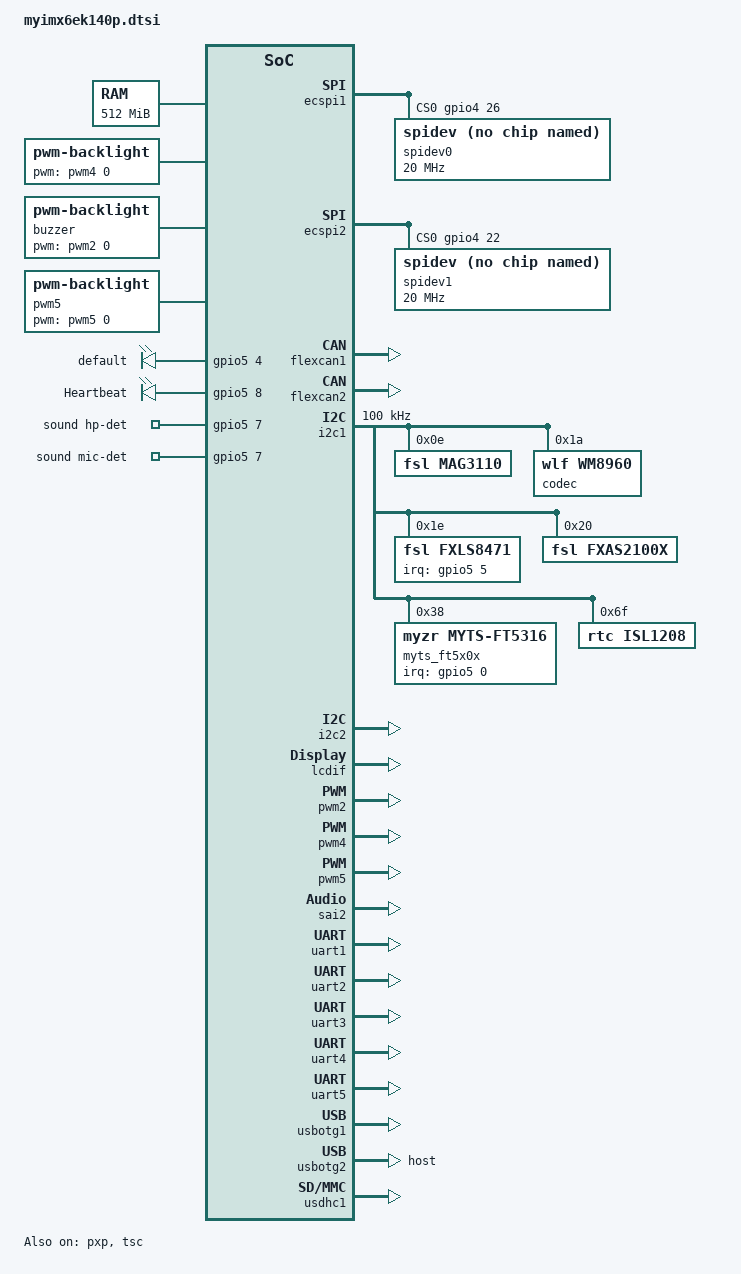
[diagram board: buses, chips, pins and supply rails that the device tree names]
/*
 * MYZR Technology Co.,Ltd
 * http://www.myzr.com.cn
 * Tang Bin <tangb@myzr.com.cn>
 */

/ {

    chosen {
        stdout-path = &uart1;
    };

    memory {
        reg = <0x80000000 0x20000000>;
    };

    backlight {
        compatible = "pwm-backlight";
        pwms = <&pwm4 0 5000000>;
        brightness-levels = <0 4 8 16 32 64 128 255>;
        default-brightness-level = <4>;
        status = "okay";
    };
	
    buzzer {
        compatible = "pwm-backlight";
        pwms = <&pwm2 0 5000000>;
        brightness-levels = <0 4 8 16 32 64 128 255>;
        default-brightness-level = <0>;
        status = "okay";
    };

    pwm5 {
        compatible = "pwm-backlight";
        pwms = <&pwm5 0 5000000>;
        brightness-levels = <0 4 8 16 32 64 128 255>;
        default-brightness-level = <0>;
        status = "okay";
    };

    pxp_v4l2 {
        compatible = "fsl,imx6ul-pxp-v4l2", "fsl,imx6sx-pxp-v4l2", "fsl,imx6sl-pxp-v4l2";
        status = "okay";
    };

    regulators {
        compatible = "simple-bus";
        #address-cells = <1>;
        #size-cells = <0>;
    };

    leds {
        compatible = "gpio-leds";
        pinctrl-names = "default";
        pinctrl-0 = <&pinctrl_snvs_gpio_leds>;

        led-default {
            label = "default";
            gpios = <&gpio5 4 0>;
            linux,default-trigger = "default-on";
            default-state = "on";
        };

        led-heartbeat {
            label = "Heartbeat";
            gpios = <&gpio5 8 0>;
            linux,default-trigger = "heartbeat";
        };
/*
        led-timer {
            linux,default-trigger = "timer";
            gpios = <&gpio5 4 0>;
            default-state = "off";
        };

        led-gpio {
            label = "leds-gpio";
            gpios = <&gpio5 8 0>;
            linux,default-trigger = "gpio";
        };
*/
    };

    sound {
        compatible = "fsl,imx6ul-evk-wm8960",
            "fsl,imx-audio-wm8960";
        model = "wm8960-audio";
        cpu-dai = <&sai2>;
        audio-codec = <&codec>;
        asrc-controller = <&asrc>;
        codec-master;
        gpr = <&gpr 4 0x100000 0x100000>;
        /*
        * hp-det = <hp-det-pin hp-det-polarity>;
        * hp-det-pin: JD1 JD2  or JD3
        * hp-det-polarity = 0: hp detect high for headphone
        * hp-det-polarity = 1: hp detect high for speaker
        */
        hp-det = <3 0>;
        hp-det-gpios = <&gpio5 7 0>;
        mic-det-gpios = <&gpio5 7 0>;
        audio-routing =
            "Headset Jack", "HP_L",
            "Headset Jack", "HP_R",
            "Ext Spk", "SPK_LP",
            "Ext Spk", "SPK_LN",
            "Ext Spk", "SPK_RP",
            "Ext Spk", "SPK_RN",
            "LINPUT2", "Hp MIC",
            "LINPUT3", "Hp MIC",
            "RINPUT1", "Main MIC",
            "RINPUT2", "Main MIC",
            "Hp MIC", "MICB",
            "Main MIC", "MICB",
            "CPU-Playback", "ASRC-Playback",
            "Playback", "CPU-Playback",
            "ASRC-Capture", "CPU-Capture",
            "CPU-Capture", "Capture";
    };
};

&cpu0 {
    arm-supply = <&reg_arm>;
    soc-supply = <&reg_soc>;
};

&clks {
    assigned-clocks = <&clks IMX6UL_CLK_PLL4_AUDIO_DIV>;
    assigned-clock-rates = <786432000>;
};

&adc1 {
    num-channels = <1>;
};

&ecspi1 {
    fsl,spi-num-chipselects = <1>;
    cs-gpios = <&gpio4 26 0>;
    pinctrl-names = "default";
    pinctrl-0 = <&pinctrl_csi_ecspi1 &pinctrl_csi_ecspi1_cs0>;
    status = "okay";

    spidev0: spi@0 {
        compatible = "spidev";
        spi-max-frequency = <20000000>;
        reg = <0>;
    };
};

&ecspi2 {
    fsl,spi-num-chipselects = <1>;
    cs-gpios = <&gpio4 22 0>;
    pinctrl-names = "default";
    pinctrl-0 = <&pinctrl_csi_ecspi2 &pinctrl_csi_ecspi2_cs0>;
    status = "okay";

    spidev1: spi@0 {
        compatible = "spidev";
        spi-max-frequency = <20000000>;
        reg = <0>;
    };
};

&flexcan1 {
    pinctrl-names = "default";
    pinctrl-0 = <&pinctrl_uart3_flexcan1>;
    status = "okay";
};

&flexcan2 {
    pinctrl-names = "default";
    pinctrl-0 = <&pinctrl_uart2_flexcan2>;
    status = "okay";
};

&gpc {
    fsl,cpu_pupscr_sw2iso = <0x1>;
    fsl,cpu_pupscr_sw = <0x0>;
    fsl,cpu_pdnscr_iso2sw = <0x1>;
    fsl,cpu_pdnscr_iso = <0x1>;
    fsl,wdog-reset = <1>; /* watchdog select of reset source */
    fsl,ldo-bypass = <0>; /* DCDC, ldo-enable */
};

&i2c1 {
    clock-frequency = <100000>;
    pinctrl-names = "default";
    pinctrl-0 = <&pinctrl_csi_i2c1>;
    status = "okay";

    mag3110@0e {
        compatible = "fsl,mag3110";
        reg = <0x0e>;
        position = <2>;
    };

    codec: wm8960@1a {
        compatible = "wlf,wm8960";
        reg = <0x1a>;
        clocks = <&clks IMX6UL_CLK_SAI2>;
        clock-names = "mclk";
        wlf,shared-lrclk;
    };

    fxls8471@1e {
        compatible = "fsl,fxls8471";
        reg = <0x1e>;
        position = <0>;
        interrupt-parent = <&gpio5>;
        interrupts = <5 8>;
    };

    fxas2100x@20 {
        compatible = "fsl,fxas2100x";
        reg = <0x20>;
    };
	
	myts_ft5x0x@38 {
		compatible = "myzr,myts-ft5316";
		reg = <0x38>;
		pinctrl-names = "default";
		pinctrl-0 = <&pinctrl_snvs_ts>;
		interrupt-parent = <&gpio5>;
		interrupts = <0 0>;
		linux,wakeup;
    };
	
    isl1208@6f {
        compatible = "rtc,isl1208";
        reg = <0x6f>;
    };
};

&i2c2 {
    clock_frequency = <100000>;
    pinctrl-names = "default";
    pinctrl-0 = <&pinctrl_csi_i2c2>;
    status = "okay";
};

&lcdif {
    pinctrl-names = "default";
    pinctrl-0 = <&pinctrl_lcd_lcdif_ctrl &pinctrl_lcd_lcdif_data>;
    display = <&display0>;
    status = "okay";

    /*for 7 inch rgb  */
    display0: display {
        bits-per-pixel = <24>;
        bus-width = <24>;
	 
        display-timings {
        native-mode = <&timing0>;
            timing0: timing0 {
                clock-frequency = <50000000>;
                hactive = <800>;
                vactive = <480>;
                hfront-porch = <89>;
                hback-porch = <164>;
                hsync-len = <23>;
                vback-porch = <10>;
                vfront-porch = <10>;
                vsync-len = <10>;

                hsync-active = <0>;
                vsync-active = <0>;
                de-active = <1>;
                pixelclk-active = <0>;
            };
        };
    };

    /* for rgb to lvds */
    /* display0: display {
        bits-per-pixel = <24>;
        bus-width = <24>;
	        
        display-timings {
            native-mode = <&timing0>;
            timing0: timing0 {
                clock-frequency = <33000000>;
                hactive = <800>;
                vactive = <480>;
                hfront-porch = <40>;
                hback-porch = <220>;
                hsync-len = <60>;
                vback-porch = <21>;
                vfront-porch = <7>;
                vsync-len = <10>;
	 
	 
                hsync-active = <0>;
                vsync-active = <0>;
                de-active = <1>;
                #pixelclk-active = <0>;
            };
        };
    }; */
};

&pwm2 {
    pinctrl-names = "default";
    pinctrl-0 = <&pinctrl_gpio1_pwm2>;
    clocks = <&clks IMX6UL_CLK_PWM2>,
           <&clks IMX6UL_CLK_PWM2>;
    status = "okay";
};

&pwm4 {
    pinctrl-names = "default";
    pinctrl-0 = <&pinctrl_gpio1_pwm4>;
    clocks = <&clks IMX6UL_CLK_PWM4>,
           <&clks IMX6UL_CLK_PWM4>;
    status = "okay";
};

&pwm5 {
    pinctrl-names = "default";
    pinctrl-0 = <&pinctrl_nand_mux>;
    clocks = <&clks IMX6UL_CLK_PWM5>,
            <&clks IMX6UL_CLK_PWM5>;
    status = "okay";
};

&pxp {
    status = "okay";
};

&sai2 {
    pinctrl-names = "default";
    pinctrl-0 = <&pinctrl_jtag_sai2 &pinctrl_snvs_sci2_io>;
    assigned-clocks = <&clks IMX6UL_CLK_SAI2_SEL>,
        <&clks IMX6UL_CLK_SAI2>;
    assigned-clock-parents = <&clks IMX6UL_CLK_PLL4_AUDIO_DIV>;
    assigned-clock-rates = <0>, <12288000>;
    status = "okay";
};

&tsc {
    pinctrl-names = "default";
    pinctrl-0 = <&pinctrl_gpio1_tsc >;
    xnur-gpio = <&gpio1 3 GPIO_ACTIVE_LOW>;
    measure-delay-time = <0xffff>;
    pre-charge-time = <0xfff>;
    status = "okay";
};

&uart1 {
    pinctrl-names = "default";
    pinctrl-0 = <&pinctrl_uart1_uart1>;
    status = "okay";
};

&uart2 {
    pinctrl-names = "default";
    pinctrl-0 = <&pinctrl_uart2_uart2>;
    status = "okay";
};

&uart3 {
    pinctrl-names = "default";
    pinctrl-0 = <&pinctrl_uart3_uart3>;
    status = "okay";
};

&uart4 {
    pinctrl-names = "default";
    pinctrl-0 = <&pinctrl_uart4_uart4>;
    status = "okay";
};

&uart5 {
    pinctrl-names = "default";
    pinctrl-0 = <&pinctrl_uart5_uart5>;
    status = "okay";
};

&usbotg1 {
    pinctrl-names = "default";
    pinctrl-0 = <&pinctrl_gpio1_usb_otg1_id>;
    srp-disable;
    hnp-disable;
    adp-disable;
    status = "okay";
};

&usbotg2 {
    dr_mode = "host";
    disable-over-current;
    status = "okay";
};

&usdhc1 {
    pinctrl-names = "default";
    pinctrl-0 = <&pinctrl_sd1_usdhc1>;
    keep-power-in-suspend;
    enable-sdio-wakeup;
    status = "okay";
};
